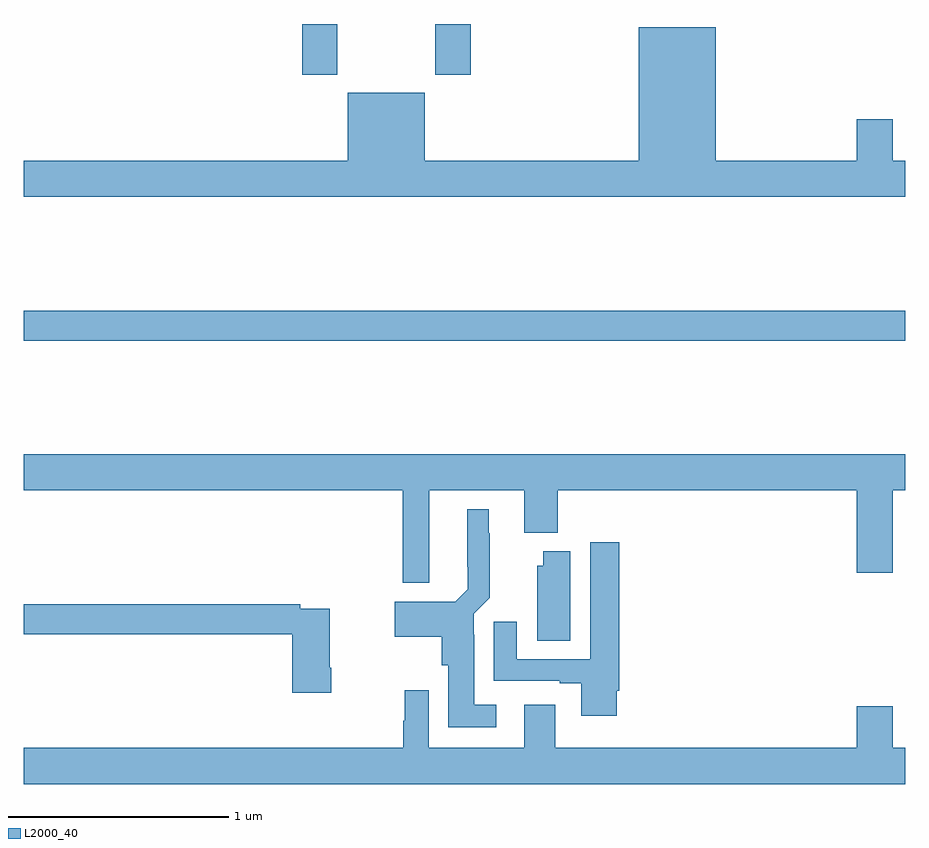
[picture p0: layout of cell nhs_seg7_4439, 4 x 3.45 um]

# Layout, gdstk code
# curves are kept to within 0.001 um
import gdstk
lib = gdstk.Library(unit=1e-6, precision=1e-09)
def R(c, l, rs):  # rectangles x0, y0, x1, y1
    for r in rs: c.add(gdstk.rectangle(r[:2], r[2:], *l))
def P(c, l, *ps):  # polygons
    for p in ps: c.add(gdstk.Polygon(p, *l))
L2000_40 = (2000, 40)

nhs_seg7_4439 = lib.new_cell('nhs_seg7_4439')
R(nhs_seg7_4439, L2000_40, [(389,1066.564,393,1066.7), (390.263,1067.769,390.423,1068), (390.868,1067.769,391.028,1068)])
P(nhs_seg7_4439, L2000_40, [(393,1067.38),(392.944,1067.38),(392.944,1067.569),(392.78,1067.569),(392.78,1067.38),(392.14,1067.38),(392.14,1067.986),(391.79,1067.986),(391.79,1067.38),(390.82,1067.38),(390.82,1067.689),(390.47,1067.689),(390.47,1067.38),(389,1067.38),(389,1067.216),(393,1067.216)],
  [(389,1065.884),(390.719,1065.884),(390.719,1065.464),(390.841,1065.464),(390.841,1065.884),(391.271,1065.884),(391.271,1065.692),(391.424,1065.692),(391.424,1065.884),(392.78,1065.884),(392.78,1065.51),(392.944,1065.51),(392.944,1065.884),(393,1065.884),(393,1066.048),(389,1066.048)],
  [(391.144,1064.911),(391.045,1064.911),(391.045,1065.23),(391.041,1065.23),(391.041,1065.324),(391.115,1065.398),(391.115,1065.689),(391.111,1065.689),(391.111,1065.799),(391.013,1065.799),(391.014,1065.436),(390.957,1065.379),(390.684,1065.379),(390.684,1065.221),(390.896,1065.221),(390.896,1065.09),(390.926,1065.09),(390.926,1064.81),(391.144,1064.81)],
  [(391.69,1064.974),(391.703,1064.974),(391.703,1065.649),(391.571,1065.649),(391.571,1065.117),(391.237,1065.117),(391.237,1065.289),(391.133,1065.289),(391.133,1065.021),(391.433,1065.021),(391.433,1065.009),(391.529,1065.009),(391.529,1064.862),(391.69,1064.862)],
  [(391.48,1065.607),(391.358,1065.607),(391.358,1065.543),(391.331,1065.543),(391.331,1065.202),(391.48,1065.202)],
  [(390.396,1065.079),(390.388,1065.079),(390.388,1065.348),(390.254,1065.348),(390.254,1065.368),(389,1065.368),(389,1065.232),(390.218,1065.232),(390.218,1064.967),(390.396,1064.967)],
  [(391.271,1064.911),(391.271,1064.716),(390.837,1064.716),(390.837,1064.977),(390.729,1064.977),(390.729,1064.838),(390.721,1064.838),(390.721,1064.716),(389,1064.716),(389,1064.552),(393,1064.552),(393,1064.716),(392.944,1064.716),(392.944,1064.905),(392.78,1064.905),(392.78,1064.716),(391.411,1064.716),(391.411,1064.911)])

lib.write_gds('nhs_seg7_4439.gds')
